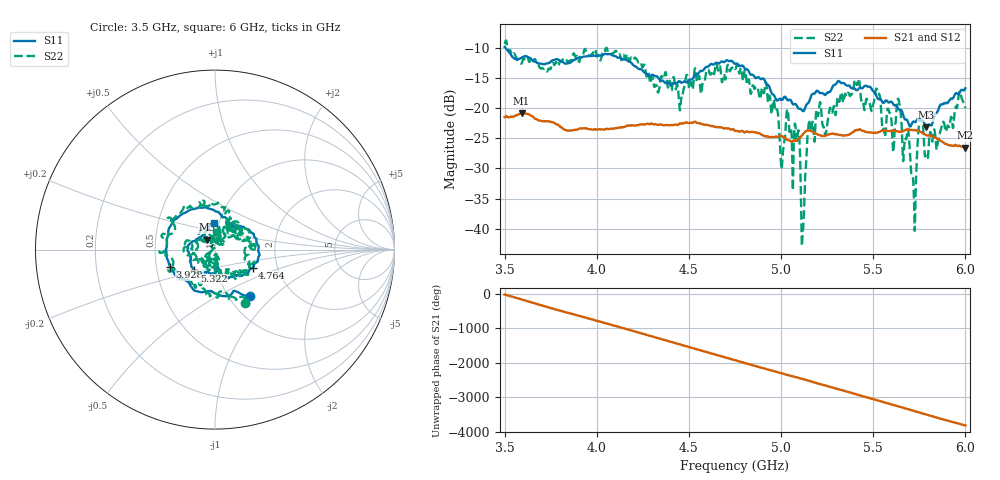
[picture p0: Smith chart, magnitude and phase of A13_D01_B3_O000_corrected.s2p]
! Created with skrf 1.9.0 (http://scikit-rf.org).
# Hz S RI R 50.0
!freq ReS11 ImS11 ReS21 ImS21 ReS12 ImS12 ReS22 ImS22
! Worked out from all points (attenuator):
!   1601 points, 3.5 GHz to 6 GHz, reference 50 ohm
!   highest |S21| = -20.87 dB at 3.592 GHz (marker M1); lowest = -26.5 dB at 6 GHz (marker M2)
!   lowest |S11| = -23.2 dB at 5.787 GHz (marker M3), VSWR 1.15, Z = 45.7 + j5.05 ohm
!   |S11| at or under -10 dB: 3.505 GHz to end of sweep
!   |S22| runs from -42.9 to -8.8 dB; largest |S21 - S12| = 0.0013
!   S11 on the Smith chart (normalised r, x): 3.5 GHz: 1.25, -0.72; 3.928 GHz: 0.59, -0.12; 4.764 GHz: 1.49, -0.32; 5.322 GHz: 0.77, -0.18; 6 GHz: 0.95, +0.28
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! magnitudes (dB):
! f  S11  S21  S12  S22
! 3.5 GHz  -9.8  -21.5  -21.5  -9.3
! 3.592 GHz  -11.6  -20.9  -20.9  -12.6
! 3.917 GHz  -11.6  -23.4  -23.4  -11.1
! 3.928 GHz  -11.4  -23.3  -23.3  -10.9
! 4.334 GHz  -15.0  -22.8  -22.7  -17.3
! 4.75 GHz  -12.6  -23.8  -23.7  -13.5
! 4.764 GHz  -12.7  -23.8  -23.8  -12.8
! 4.969 GHz  -18.3  -24.7  -24.7  -20.4
! 5.005 GHz  -18.6  -24.6  -24.7  -29.6
! 5.033 GHz  -18.6  -25.2  -25.2  -20.2
! 5.086 GHz  -19.6  -25.3  -25.3  -25.5
! 5.119 GHz  -20.5  -24.3  -24.3  -40.1
! 5.145 GHz  -19.2  -23.7  -23.7  -23.8
! 5.167 GHz  -17.7  -23.9  -23.8  -22.7
! 5.322 GHz  -15.7  -24.5  -24.4  -18.0
! 5.584 GHz  -19.1  -23.8  -23.8  -20.4
! 5.611 GHz  -19.4  -23.7  -23.6  -26.6
! 5.641 GHz  -20.3  -24.0  -23.9  -19.1
! 5.719 GHz  -22.2  -23.6  -23.6  -33.3
! 5.755 GHz  -22.0  -23.9  -23.9  -21.9
! 5.787 GHz  -23.2  -24.5  -24.4  -27.7
! 6 GHz  -16.7  -26.5  -26.5  -20.0
